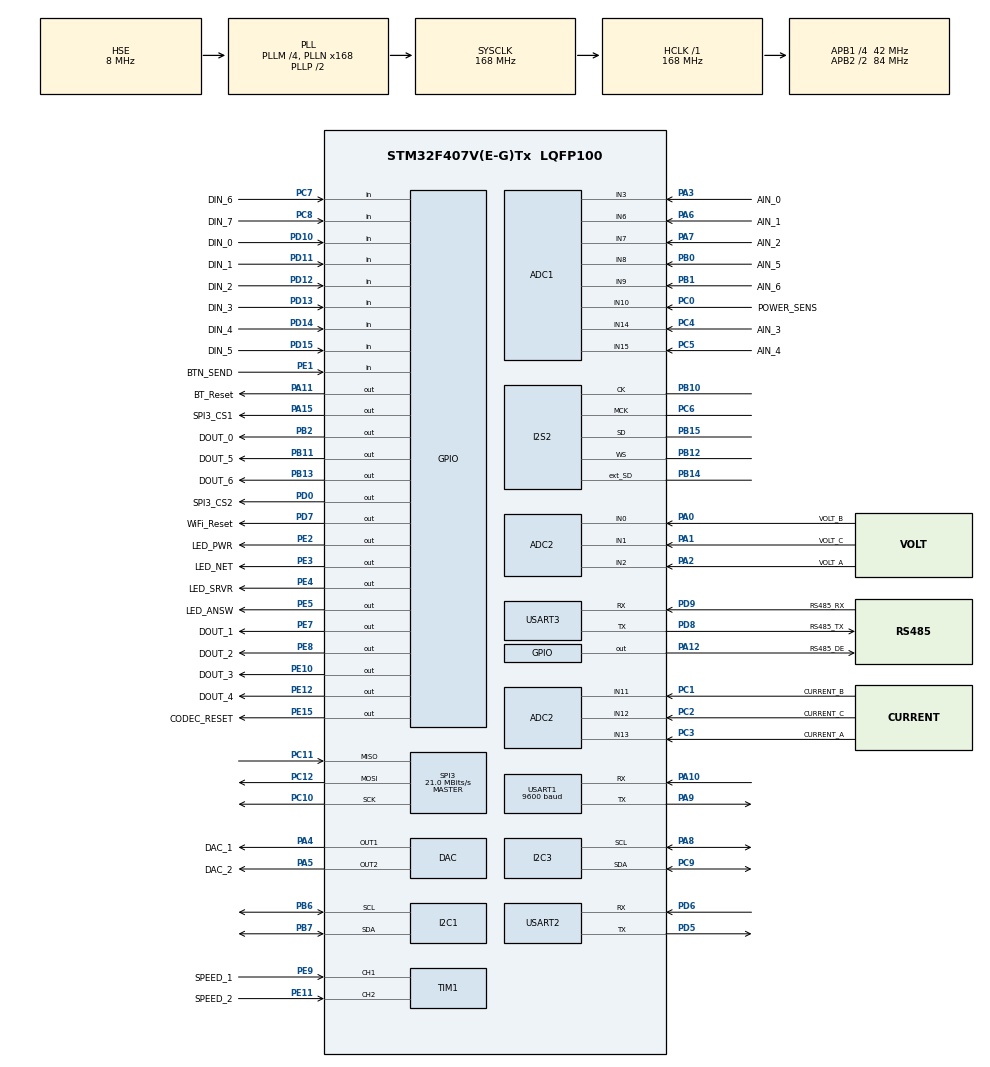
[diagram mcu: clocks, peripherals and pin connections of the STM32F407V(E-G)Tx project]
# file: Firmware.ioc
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ADC1.Channel-14\#ChannelRegularConversion=ADC_CHANNEL_3
ADC1.Channel-15\#ChannelRegularConversion=ADC_CHANNEL_6
ADC1.Channel-16\#ChannelRegularConversion=ADC_CHANNEL_7
ADC1.Channel-17\#ChannelRegularConversion=ADC_CHANNEL_14
ADC1.Channel-18\#ChannelRegularConversion=ADC_CHANNEL_15
ADC1.Channel-19\#ChannelRegularConversion=ADC_CHANNEL_8
ADC1.Channel-20\#ChannelRegularConversion=ADC_CHANNEL_9
ADC1.Channel-21\#ChannelRegularConversion=ADC_CHANNEL_10
ADC1.Channel-22\#ChannelRegularConversion=ADC_CHANNEL_TEMPSENSOR
ADC1.Channel-23\#ChannelRegularConversion=ADC_CHANNEL_VBAT
ADC1.Channel-24\#ChannelRegularConversion=ADC_CHANNEL_VREFINT
ADC1.ContinuousConvMode=ENABLE
ADC1.DMAContinuousRequests=ENABLE
ADC1.ExternalTrigConv=ADC_SOFTWARE_START
ADC1.NbrOfConversion=11
ADC1.NbrOfConversionFlag=1
ADC1.Rank-14\#ChannelRegularConversion=1
ADC1.Rank-15\#ChannelRegularConversion=2
ADC1.Rank-16\#ChannelRegularConversion=3
ADC1.Rank-17\#ChannelRegularConversion=4
ADC1.Rank-18\#ChannelRegularConversion=5
ADC1.Rank-19\#ChannelRegularConversion=6
ADC1.Rank-20\#ChannelRegularConversion=7
ADC1.Rank-21\#ChannelRegularConversion=8
ADC1.Rank-22\#ChannelRegularConversion=9
ADC1.Rank-23\#ChannelRegularConversion=10
ADC1.Rank-24\#ChannelRegularConversion=11
ADC1.SamplingTime-14\#ChannelRegularConversion=ADC_SAMPLETIME_480CYCLES
ADC1.SamplingTime-15\#ChannelRegularConversion=ADC_SAMPLETIME_480CYCLES
ADC1.SamplingTime-16\#ChannelRegularConversion=ADC_SAMPLETIME_480CYCLES
ADC1.SamplingTime-17\#ChannelRegularConversion=ADC_SAMPLETIME_480CYCLES
ADC1.SamplingTime-18\#ChannelRegularConversion=ADC_SAMPLETIME_480CYCLES
ADC1.SamplingTime-19\#ChannelRegularConversion=ADC_SAMPLETIME_480CYCLES
ADC1.SamplingTime-20\#ChannelRegularConversion=ADC_SAMPLETIME_480CYCLES
ADC1.SamplingTime-21\#ChannelRegularConversion=ADC_SAMPLETIME_480CYCLES
ADC1.SamplingTime-22\#ChannelRegularConversion=ADC_SAMPLETIME_480CYCLES
ADC1.SamplingTime-23\#ChannelRegularConversion=ADC_SAMPLETIME_480CYCLES
ADC1.SamplingTime-24\#ChannelRegularConversion=ADC_SAMPLETIME_480CYCLES
ADC1.ScanConvMode=ENABLE
ADC1.master=1
ADC2.Channel-15\#ChannelRegularConversion=ADC_CHANNEL_0
ADC2.Channel-16\#ChannelRegularConversion=ADC_CHANNEL_11
ADC2.Channel-17\#ChannelRegularConversion=ADC_CHANNEL_1
ADC2.Channel-18\#ChannelRegularConversion=ADC_CHANNEL_12
ADC2.Channel-19\#ChannelRegularConversion=ADC_CHANNEL_2
ADC2.Channel-20\#ChannelRegularConversion=ADC_CHANNEL_13
ADC2.DMAContinuousRequests=ENABLE
ADC2.DiscontinuousConvMode=ENABLE
ADC2.ExternalTrigConv=ADC_EXTERNALTRIGCONV_T5_CC1
ADC2.NbrOfConversion=6
ADC2.NbrOfConversionFlag=1
ADC2.NbrOfDiscConversion=6
ADC2.Rank-15\#ChannelRegularConversion=1
ADC2.Rank-16\#ChannelRegularConversion=2
ADC2.Rank-17\#ChannelRegularConversion=3
ADC2.Rank-18\#ChannelRegularConversion=4
ADC2.Rank-19\#ChannelRegularConversion=5
ADC2.Rank-20\#ChannelRegularConversion=6
ADC2.SamplingTime-15\#ChannelRegularConversion=ADC_SAMPLETIME_3CYCLES
ADC2.SamplingTime-16\#ChannelRegularConversion=ADC_SAMPLETIME_3CYCLES
ADC2.SamplingTime-17\#ChannelRegularConversion=ADC_SAMPLETIME_3CYCLES
ADC2.SamplingTime-18\#ChannelRegularConversion=ADC_SAMPLETIME_3CYCLES
ADC2.SamplingTime-19\#ChannelRegularConversion=ADC_SAMPLETIME_3CYCLES
ADC2.SamplingTime-20\#ChannelRegularConversion=ADC_SAMPLETIME_3CYCLES
ADC2.ScanConvMode=ENABLE
Dma.ADC1.0.Direction=DMA_PERIPH_TO_MEMORY
Dma.ADC1.0.FIFOMode=DMA_FIFOMODE_DISABLE
Dma.ADC1.0.Instance=DMA2_Stream0
Dma.ADC1.0.MemDataAlignment=DMA_MDATAALIGN_HALFWORD
Dma.ADC1.0.MemInc=DMA_MINC_ENABLE
Dma.ADC1.0.Mode=DMA_CIRCULAR
Dma.ADC1.0.PeriphDataAlignment=DMA_PDATAALIGN_HALFWORD
Dma.ADC1.0.PeriphInc=DMA_PINC_DISABLE
Dma.ADC1.0.Priority=DMA_PRIORITY_LOW
Dma.ADC2.1.Direction=DMA_PERIPH_TO_MEMORY
Dma.ADC2.1.FIFOMode=DMA_FIFOMODE_DISABLE
Dma.ADC2.1.Instance=DMA2_Stream2
Dma.ADC2.1.MemDataAlignment=DMA_MDATAALIGN_HALFWORD
Dma.ADC2.1.MemInc=DMA_MINC_ENABLE
Dma.ADC2.1.Mode=DMA_CIRCULAR
Dma.ADC2.1.PeriphDataAlignment=DMA_PDATAALIGN_HALFWORD
Dma.ADC2.1.PeriphInc=DMA_PINC_DISABLE
Dma.ADC2.1.Priority=DMA_PRIORITY_LOW
Dma.I2S2_EXT_RX.4.Direction=DMA_PERIPH_TO_MEMORY
Dma.I2S2_EXT_RX.4.FIFOMode=DMA_FIFOMODE_DISABLE
Dma.I2S2_EXT_RX.4.Instance=DMA1_Stream3
Dma.I2S2_EXT_RX.4.MemDataAlignment=DMA_MDATAALIGN_HALFWORD
Dma.I2S2_EXT_RX.4.MemInc=DMA_MINC_ENABLE
Dma.I2S2_EXT_RX.4.Mode=DMA_CIRCULAR
Dma.I2S2_EXT_RX.4.PeriphDataAlignment=DMA_PDATAALIGN_HALFWORD
Dma.I2S2_EXT_RX.4.PeriphInc=DMA_PINC_DISABLE
Dma.I2S2_EXT_RX.4.Priority=DMA_PRIORITY_LOW
Dma.Request0=ADC1
Dma.Request1=ADC2
Dma.Request2=USART2_TX
Dma.Request3=USART1_TX
Dma.Request4=I2S2_EXT_RX
Dma.Request5=SPI2_TX
Dma.SPI2_TX.5.Direction=DMA_MEMORY_TO_PERIPH
Dma.SPI2_TX.5.FIFOMode=DMA_FIFOMODE_DISABLE
Dma.SPI2_TX.5.Instance=DMA1_Stream4
Dma.SPI2_TX.5.MemDataAlignment=DMA_MDATAALIGN_HALFWORD
Dma.SPI2_TX.5.MemInc=DMA_MINC_ENABLE
Dma.SPI2_TX.5.Mode=DMA_CIRCULAR
Dma.SPI2_TX.5.PeriphDataAlignment=DMA_PDATAALIGN_HALFWORD
Dma.SPI2_TX.5.PeriphInc=DMA_PINC_DISABLE
Dma.SPI2_TX.5.Priority=DMA_PRIORITY_LOW
Dma.USART1_TX.3.Direction=DMA_MEMORY_TO_PERIPH
Dma.USART1_TX.3.FIFOMode=DMA_FIFOMODE_DISABLE
Dma.USART1_TX.3.Instance=DMA2_Stream7
Dma.USART1_TX.3.MemDataAlignment=DMA_MDATAALIGN_BYTE
Dma.USART1_TX.3.MemInc=DMA_MINC_ENABLE
Dma.USART1_TX.3.Mode=DMA_NORMAL
Dma.USART1_TX.3.PeriphDataAlignment=DMA_PDATAALIGN_BYTE
Dma.USART1_TX.3.PeriphInc=DMA_PINC_DISABLE
Dma.USART1_TX.3.Priority=DMA_PRIORITY_LOW
Dma.USART2_TX.2.Direction=DMA_MEMORY_TO_PERIPH
Dma.USART2_TX.2.FIFOMode=DMA_FIFOMODE_DISABLE
Dma.USART2_TX.2.Instance=DMA1_Stream6
Dma.USART2_TX.2.MemDataAlignment=DMA_MDATAALIGN_BYTE
Dma.USART2_TX.2.MemInc=DMA_MINC_ENABLE
Dma.USART2_TX.2.Mode=DMA_NORMAL
Dma.USART2_TX.2.PeriphDataAlignment=DMA_PDATAALIGN_BYTE
Dma.USART2_TX.2.PeriphInc=DMA_PINC_DISABLE
Dma.USART2_TX.2.Priority=DMA_PRIORITY_LOW
FREERTOS.BinarySemaphores01=BinarySem_ADC1_Ready,Dynamic,NULL;BinarySem_ADC2_50Hz_Ready,Dynamic,NULL;BinarySem_Codec_ADC_Ready,Dynamic,NULL
FREERTOS.Tasks01=defaultTask,0,512,StartDefaultTask,Default,NULL,Dynamic,NULL,NULL;ADC1_Data_Routi,1,128,Start_ADC1_Data_Routine,Default,NULL,Dynamic,NULL,NULL;ADC2_50Hz_Routi,1,128,Start_ADC2_50Hz_Routine,Default,NULL,Dynamic,NULL,NULL;CODEC_ADC_Routi,1,128,Start_CODEC_ADC_Routine,Default,NULL,Dynamic,NULL,NULL;WIFI_SEND_Routi,0,256,Start_WIFI_SEND_Routine,Default,NULL,Dynamic,NULL,NULL;OLED_Out,0,256,Start_OLED_Out,Default,NULL,Dynamic,NULL,NULL
I2C3.I2C_Mode=I2C_Standard
I2C3.OwnAddress=0
I2S2.AudioFreq=I2S_AUDIOFREQ_48K
I2S2.ErrorAudioFreq=1.72 %
I2S2.FullDuplexMode=I2S_FULLDUPLEXMODE_ENABLE
I2S2.Instance=SPI$Index
I2S2.Mode=I2S_MODE_MASTER_TX
I2S2.RealAudioFreq=48.828 KHz
I2S2.VirtualMode=I2S_MODE_MASTER
Mcu.Family=STM32F4
Mcu.Name=STM32F407V(E-G)Tx
Mcu.Package=LQFP100
NVIC.DMA1_Stream3_IRQn=true\:5\:0\:false\:false\:true\:true\:false\:true
NVIC.DMA1_Stream4_IRQn=true\:5\:0\:false\:false\:true\:true\:false\:true
NVIC.DMA1_Stream6_IRQn=true\:5\:0\:false\:false\:true\:true\:false\:true
NVIC.DMA2_Stream0_IRQn=true\:5\:0\:false\:false\:true\:true\:false\:true
NVIC.DMA2_Stream2_IRQn=true\:5\:0\:false\:false\:true\:true\:false\:true
NVIC.DMA2_Stream7_IRQn=true\:5\:0\:false\:false\:true\:true\:false\:true
NVIC.PriorityGroup=NVIC_PRIORITYGROUP_4
NVIC.TIM1_CC_IRQn=true\:5\:0\:false\:false\:true\:true\:true\:true
NVIC.TIM2_IRQn=true\:0\:0\:false\:false\:true\:false\:false\:true
NVIC.TIM5_IRQn=true\:5\:0\:false\:false\:true\:true\:true\:true
NVIC.TimeBase=TIM2_IRQn
NVIC.TimeBaseIP=TIM2
NVIC.USART1_IRQn=true\:5\:0\:true\:false\:true\:true\:true\:true
NVIC.USART2_IRQn=true\:5\:0\:true\:false\:true\:true\:true\:true
NVIC.USART3_IRQn=true\:5\:0\:false\:false\:true\:true\:true\:true
PA0-WKUP.GPIO_Label=VOLT_B
PA0-WKUP.Signal=ADCx_IN0
PA1.GPIO_Label=VOLT_C
PA1.Signal=ADCx_IN1
PA10.Mode=Asynchronous
PA10.Signal=USART1_RX
PA11.GPIO_Label=BT_Reset
PA11.Signal=GPIO_Output
PA12.GPIO_Label=RS485_DE
PA12.Signal=GPIO_Output
PA13.Mode=Serial_Wire
PA13.Signal=SYS_JTMS-SWDIO
PA14.Mode=Serial_Wire
PA14.Signal=SYS_JTCK-SWCLK
PA15.GPIO_Label=SPI3_CS1
PA15.Signal=GPIO_Output
PA2.GPIO_Label=VOLT_A
PA2.Signal=ADCx_IN2
PA3.GPIO_Label=AIN_0
PA3.Signal=ADCx_IN3
PA4.GPIO_Label=DAC_1
PA4.Signal=COMP_DAC1_group
PA5.GPIO_Label=DAC_2
PA5.Signal=COMP_DAC2_group
PA6.GPIO_Label=AIN_1
PA6.Signal=ADCx_IN6
PA7.GPIO_Label=AIN_2
PA7.Signal=ADCx_IN7
PA8.Mode=I2C
PA8.Signal=I2C3_SCL
PA9.Mode=Asynchronous
PA9.Signal=USART1_TX
PB0.GPIO_Label=AIN_5
PB0.Signal=ADCx_IN8
PB1.GPIO_Label=AIN_6
PB1.Signal=ADCx_IN9
PB10.Mode=Full_Duplex_Master
PB10.Signal=I2S2_CK
PB11.GPIO_Label=DOUT_5
PB11.Signal=GPIO_Output
PB12.Mode=Full_Duplex_Master
PB12.Signal=I2S2_WS
PB13.GPIO_Label=DOUT_6
PB13.Signal=GPIO_Output
PB14.Mode=Full_Duplex_Master
PB14.Signal=I2S2_ext_SD
PB15.Mode=Full_Duplex_Master
PB15.Signal=I2S2_SD
PB2.GPIO_Label=DOUT_0
PB2.Signal=GPIO_Output
PB6.Mode=I2C
PB6.Signal=I2C1_SCL
PB7.Mode=I2C
PB7.Signal=I2C1_SDA
PC0.GPIO_Label=POWER_SENS
PC0.Signal=ADCx_IN10
PC1.GPIO_Label=CURRENT_B
PC1.Signal=ADCx_IN11
PC10.Mode=Full_Duplex_Master
PC10.Signal=SPI3_SCK
PC11.Mode=Full_Duplex_Master
PC11.Signal=SPI3_MISO
PC12.Mode=Full_Duplex_Master
PC12.Signal=SPI3_MOSI
PC14-OSC32_IN.Mode=LSE-External-Oscillator
PC14-OSC32_IN.Signal=RCC_OSC32_IN
PC15-OSC32_OUT.Mode=LSE-External-Oscillator
PC15-OSC32_OUT.Signal=RCC_OSC32_OUT
PC2.GPIO_Label=CURRENT_C
PC2.Signal=ADCx_IN12
PC3.GPIO_Label=CURRENT_A
PC3.Signal=ADCx_IN13
PC4.GPIO_Label=AIN_3
PC4.Signal=ADCx_IN14
PC5.GPIO_Label=AIN_4
PC5.Signal=ADCx_IN15
PC6.Mode=Master_Clock_Activated
PC6.Signal=I2S2_MCK
PC7.GPIO_Label=DIN_6
PC7.Signal=GPIO_Input
PC8.GPIO_Label=DIN_7
PC8.Signal=GPIO_Input
PC9.Mode=I2C
PC9.Signal=I2C3_SDA
PD0.GPIO_Label=SPI3_CS2
PD0.Signal=GPIO_Output
PD10.GPIO_Label=DIN_0
PD10.Signal=GPIO_Input
PD11.GPIO_Label=DIN_1
PD11.Signal=GPIO_Input
PD12.GPIO_Label=DIN_2
PD12.Signal=GPIO_Input
PD13.GPIO_Label=DIN_3
PD13.Signal=GPIO_Input
PD14.GPIO_Label=DIN_4
PD14.Signal=GPIO_Input
PD15.GPIO_Label=DIN_5
PD15.Signal=GPIO_Input
PD5.Mode=Asynchronous
PD5.Signal=USART2_TX
PD6.Mode=Asynchronous
PD6.Signal=USART2_RX
PD7.GPIO_Label=WiFi_Reset
PD7.PinState=GPIO_PIN_RESET
PD7.Signal=GPIO_Output
PD8.GPIO_Label=RS485_TX
PD8.Mode=Asynchronous
PD8.Signal=USART3_TX
PD9.GPIO_Label=RS485_RX
PD9.Mode=Asynchronous
PD9.Signal=USART3_RX
PE1.GPIO_Label=BTN_SEND
PE1.GPIO_PuPd=GPIO_PULLUP
PE1.Signal=GPIO_Input
PE10.GPIO_Label=DOUT_3
PE10.Signal=GPIO_Output
PE11.GPIO_Label=SPEED_2
PE11.Signal=S_TIM1_CH2
PE12.GPIO_Label=DOUT_4
PE12.Signal=GPIO_Output
PE15.GPIO_Label=CODEC_RESET
PE15.Signal=GPIO_Output
PE2.GPIO_Label=LED_PWR
PE2.Signal=GPIO_Output
PE3.GPIO_Label=LED_NET
PE3.Signal=GPIO_Output
PE4.GPIO_Label=LED_SRVR
PE4.Signal=GPIO_Output
PE5.GPIO_Label=LED_ANSW
PE5.Signal=GPIO_Output
PE7.GPIO_Label=DOUT_1
PE7.Signal=GPIO_Output
PE8.GPIO_Label=DOUT_2
PE8.Signal=GPIO_Output
PE9.GPIO_Label=SPEED_1
PE9.Signal=S_TIM1_CH1
PH0-OSC_IN.Mode=HSE-External-Oscillator
PH0-OSC_IN.Signal=RCC_OSC_IN
PH1-OSC_OUT.Mode=HSE-External-Oscillator
PH1-OSC_OUT.Signal=RCC_OSC_OUT
ProjectManager.HeapSize=0x00
ProjectManager.StackSize=0x800
ProjectManager.TargetToolchain=EWARM V8.32
RCC.48MHZClocksFreq_Value=84000000
RCC.AHBFreq_Value=168000000
RCC.APB1CLKDivider=RCC_HCLK_DIV4
RCC.APB1Freq_Value=42000000
RCC.APB1TimFreq_Value=84000000
RCC.APB2CLKDivider=RCC_HCLK_DIV2
RCC.APB2Freq_Value=84000000
RCC.APB2TimFreq_Value=168000000
RCC.CortexFreq_Value=168000000
RCC.HCLKFreq_Value=168000000
RCC.HSE_VALUE=8000000
RCC.HSI_VALUE=16000000
RCC.PLLI2SN=50
RCC.PLLM=4
RCC.PLLN=168
RCC.PLLSourceVirtual=RCC_PLLSOURCE_HSE
RCC.SYSCLKFreq_VALUE=168000000
RCC.SYSCLKSource=RCC_SYSCLKSOURCE_PLLCLK
RCC.VCOOutputFreq_Value=336000000
SH.ADCx_IN0.0=ADC1_IN0
SH.ADCx_IN0.1=ADC2_IN0,IN0
SH.ADCx_IN1.0=ADC1_IN1
SH.ADCx_IN1.1=ADC2_IN1,IN1
SH.ADCx_IN10.0=ADC1_IN10,IN10
SH.ADCx_IN11.0=ADC1_IN11
SH.ADCx_IN11.1=ADC2_IN11,IN11
SH.ADCx_IN12.0=ADC1_IN12
SH.ADCx_IN12.1=ADC2_IN12,IN12
SH.ADCx_IN13.0=ADC1_IN13
SH.ADCx_IN13.1=ADC2_IN13,IN13
SH.ADCx_IN14.0=ADC2_IN14
SH.ADCx_IN14.1=ADC1_IN14,IN14
SH.ADCx_IN15.0=ADC2_IN15
SH.ADCx_IN15.1=ADC1_IN15,IN15
SH.ADCx_IN2.0=ADC1_IN2
SH.ADCx_IN2.1=ADC2_IN2,IN2
SH.ADCx_IN3.0=ADC2_IN3
SH.ADCx_IN3.1=ADC1_IN3,IN3
SH.ADCx_IN6.0=ADC2_IN6
SH.ADCx_IN6.1=ADC1_IN6,IN6
SH.ADCx_IN7.0=ADC2_IN7
SH.ADCx_IN7.1=ADC1_IN7,IN7
SH.ADCx_IN8.0=ADC2_IN8
SH.ADCx_IN8.1=ADC1_IN8,IN8
SH.ADCx_IN9.0=ADC2_IN9
SH.ADCx_IN9.1=ADC1_IN9,IN9
SH.COMP_DAC1_group.0=DAC_OUT1,DAC_OUT1
SH.COMP_DAC2_group.0=DAC_OUT2,DAC_OUT2
SH.S_TIM1_CH1.0=TIM1_CH1,Input_Capture1_from_TI1
SH.S_TIM1_CH2.0=TIM1_CH2,Input_Capture2_from_TI2
SPI3.BaudRatePrescaler=SPI_BAUDRATEPRESCALER_2
SPI3.CalculateBaudRate=21.0 MBits/s
SPI3.Direction=SPI_DIRECTION_2LINES
SPI3.Mode=SPI_MODE_MASTER
SPI3.VirtualType=VM_MASTER
TIM1.Channel-Input_Capture1_from_TI1=TIM_CHANNEL_1
TIM1.Channel-Input_Capture2_from_TI2=TIM_CHANNEL_2
TIM1.ICPolarity_CH1=TIM_INPUTCHANNELPOLARITY_BOTHEDGE
TIM5.Channel-PWM\ Generation1\ No\ Output=TIM_CHANNEL_1
TIM5.Period=10500
TIM5.Pulse-PWM\ Generation1\ No\ Output=100
TIM5.TIM_MasterOutputTrigger=TIM_TRGO_OC1REF
USART1.BaudRate=9600
USART1.VirtualMode=VM_ASYNC
USART2.VirtualMode=VM_ASYNC
USART3.VirtualMode=VM_ASYNC
VP_ADC1_TempSens_Input.Mode=IN-TempSens
VP_ADC1_Vbat_Input.Mode=IN-Vbat
VP_ADC1_Vref_Input.Mode=IN-Vrefint
VP_FREERTOS_VS_CMSIS_V1.Mode=CMSIS_V1
VP_SYS_VS_tim2.Mode=TIM2
VP_TIM1_VS_ClockSourceINT.Mode=Internal
VP_TIM5_VS_ClockSourceINT.Mode=Internal
VP_TIM5_VS_no_output1.Mode=PWM Generation1 No Output
VP_TIM9_VS_ClockSourceINT.Mode=Internal
board=custom

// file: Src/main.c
/* USER CODE BEGIN Header */
/**
  ******************************************************************************
  * @file           : main.c
  * @brief          : Main program body
  ******************************************************************************
  * @attention
  *
  * <h2><center>&copy; Copyright (c) 2019 STMicroelectronics.
  * All rights reserved.</center></h2>
  *
  * This software component is licensed by ST under Ultimate Liberty license
  * SLA0044, the "License"; You may not use this file except in compliance with
  * the License. You may obtain a copy of the License at:
  *                             www.st.com/SLA0044
  *
  ******************************************************************************
  */
/* USER CODE END Header */

#include "main.h"
#include "cmsis_os.h"

/* USER CODE BEGIN Includes */
#include "work.h"
#include <stdio.h>
#include <string.h>
#include "usart.h"
#include "esp.h"
#include "esp_send.h"
#include "codec.h"
#include "com_control.h"
#include "ssd1306.h"
#include "fonts.h"
#include "display.h"

extern          MEAS_t M;

/*
Для того, что бы срабатывал колбэк для прерывания полного завершения передачи по ДМА
В файле stm32f4xx_hal_i2s_ex.c
В функции static void I2SEx_TxRxDMACplt(DMA_HandleTypeDef *hdma) добавить
вызов HAL_I2SEx_TxRxCpltCallback(hi2s);
*/

/* USER CODE END Includes */

ADC_HandleTypeDef hadc1;
ADC_HandleTypeDef hadc2;
DMA_HandleTypeDef hdma_adc1;
DMA_HandleTypeDef hdma_adc2;

DAC_HandleTypeDef hdac;

I2C_HandleTypeDef hi2c1;
I2C_HandleTypeDef hi2c3;

I2S_HandleTypeDef hi2s2;
DMA_HandleTypeDef hdma_i2s2_ext_rx;
DMA_HandleTypeDef hdma_spi2_tx;

SPI_HandleTypeDef hspi3;

TIM_HandleTypeDef htim1;
TIM_HandleTypeDef htim5;
TIM_HandleTypeDef htim9;

UART_HandleTypeDef huart1;
UART_HandleTypeDef huart2;
UART_HandleTypeDef huart3;
DMA_HandleTypeDef hdma_usart1_tx;
DMA_HandleTypeDef hdma_usart2_tx;

osThreadId defaultTaskHandle;
osThreadId ADC1_Data_RoutiHandle;
osThreadId ADC2_50Hz_RoutiHandle;
osThreadId CODEC_ADC_RoutiHandle;
osThreadId WIFI_SEND_RoutiHandle;
osThreadId OLED_OutHandle;
osSemaphoreId BinarySem_ADC1_ReadyHandle;
osSemaphoreId BinarySem_ADC2_50Hz_ReadyHandle;
osSemaphoreId BinarySem_Codec_ADC_ReadyHandle;
osSemaphoreId myBinarySem_DisplayOutHandle;

void SystemClock_Config(void);
static void MX_GPIO_Init(void);
static void MX_DMA_Init(void);
static void MX_ADC1_Init(void);
static void MX_DAC_Init(void);
static void MX_I2C1_Init(void);
static void MX_I2C3_Init(void);
static void MX_I2S2_Init(void);
static void MX_SPI3_Init(void);
static void MX_TIM1_Init(void);
static void MX_USART1_UART_Init(void);
static void MX_USART2_UART_Init(void);
static void MX_USART3_UART_Init(void);
static void MX_TIM5_Init(void);
static void MX_ADC2_Init(void);
static void MX_TIM9_Init(void);
void StartDefaultTask(void const * argument);
void Start_ADC1_Data_Routine(void const * argument);
void Start_ADC2_50Hz_Routine(void const * argument);
void Start_CODEC_ADC_Routine(void const * argument);
void Start_WIFI_SEND_Routine(void const * argument);
void Start_OLED_Out(void const * argument);

/* USER CODE BEGIN 0 */
extern int16_t  Codec_Rx[];                                                     // Временный буфер аудиокодека
extern int16_t  Codec_Tx[];

#define ADC1_BUF_LEN (ADC1_CH_CNT * 40 * 2)                                     // 11 каналов по 40 отсчетов 2 полубуфера = 1600 байт
#define ADC2_BUF_LEN (ADC2_CH_CNT * 40 * 2)                                     // 6 каналов пo 40 отсчетов 2 полубуфера = 1120 байт

uint16_t        ADC1_buf[ADC1_BUF_LEN];                                         // Рабочие буфера АЦП контроллера
uint16_t        ADC2_buf[ADC2_BUF_LEN];

extern char     TmpStr[];                                                       // Строка для вского

//******************************************************************************
//   ADC 1 DC
//******************************************************************************
void ADC1_DMA_XferHalfCpltCallback ( struct __DMA_HandleTypeDef * hdma){
  R.ADC1_Start_Point =  ADC1_buf;
  osSemaphoreRelease(BinarySem_ADC1_ReadyHandle);                               //Выдем семафор о принятии в буфер сообщения
}

void ADC1_DMA_XferCpltCallback ( struct __DMA_HandleTypeDef * hdma){
  R.ADC1_Start_Point = ADC1_buf + ADC1_BUF_LEN/2;
  osSemaphoreRelease(BinarySem_ADC1_ReadyHandle);                               //Выдем семафор о принятии в буфер сообщения
}

//******************************************************************************
//   ADC 2 50 Hz
//******************************************************************************
void ADC2_DMA_XferHalfCpltCallback ( struct __DMA_HandleTypeDef * hdma){
  R.ADC2_Start_Point =  ADC2_buf;
  osSemaphoreRelease(BinarySem_ADC2_50Hz_ReadyHandle);                          //Выдем семафор о принятии в буфер сообщения
}

void ADC2_DMA_XferCpltCallback ( struct __DMA_HandleTypeDef * hdma){
  R.ADC2_Start_Point = ADC2_buf + ADC2_BUF_LEN/2;
  osSemaphoreRelease(BinarySem_ADC2_50Hz_ReadyHandle);                          //Выдем семафор о принятии в буфер сообщения
}

void USART1_UART_Init()
{
	MX_USART1_UART_Init();
}

void USART2_UART_Init()
{
	MX_USART2_UART_Init();
}
void UART2_UART_InitBaud()
{
	huart2.Instance = USART2;
	huart2.Init.BaudRate = 230400;
	huart2.Init.WordLength = UART_WORDLENGTH_8B;
	huart2.Init.StopBits = UART_STOPBITS_1;
	huart2.Init.Parity = UART_PARITY_NONE;
	huart2.Init.Mode = UART_MODE_TX_RX;
	huart2.Init.HwFlowCtl = UART_HWCONTROL_NONE;
	huart2.Init.OverSampling = UART_OVERSAMPLING_16;
	if (HAL_UART_Init(&huart2) != HAL_OK)
	{
	Error_Handler();
	}
}

extern HAL_TickFreqTypeDef uwTickFreq;
extern __IO uint32_t uwTick;
volatile uint32_t EspTimer = 0;
volatile uint32_t EspSendTimer = 0;

void HAL_IncTick(void)
{
static uint16_t Tick;
#define SCREEN_SHOW_TIME_MS     2000
	uwTick += uwTickFreq;
	if (EspTimer != 0)
		--EspTimer;
	if (EspSendTimer != 0)
		--EspSendTimer;

        //---   1 sec   --------------------------------------------------------
        if (++Tick == 1000){
            Tick=0;
            M.UpTime++;
            if (R.Timer_Send_Freq != 0)  R.Timer_Send_Freq--;                   // Таймер отправки частых измерений
            if (R.Timer_Send_Rare != 0)  R.Timer_Send_Rare--;                   // Таймер отправки редких измерений
        }

        //---   Переключение экранов   -----------------------------------------
        if (++R.OLED_Screen_Show_Timer >= SCREEN_SHOW_TIME_MS){
          R.OLED_Screen_Show_Timer = 0;

          if (++R.OLED_Screen >= SCREEN_CNT) R.OLED_Screen = 0;
          R.OLED_Refresh_Enable = true;

        }

}

void HAL_Delay(uint32_t Delay)
{
	uint32_t tickstart = HAL_GetTick();
	uint32_t wait = Delay;

	/* Add a freq to guarantee minimum wait */
	if (wait < HAL_MAX_DELAY)
		wait += (uint32_t)(uwTickFreq);

	while ((HAL_GetTick() - tickstart) < wait)
	{
		__WFI();
	}
}

void ESP_HW_Reset (void) {
        __WIFI_RESET  (0);
        HAL_Delay(20);
        __WIFI_RESET  (1);
        HAL_Delay(200);
}
/* USER CODE END 0 */

int main(void)
{

  /* MCU Configuration--------------------------------------------------------*/

  /* Reset of all peripherals, Initializes the Flash interface and the Systick. */
  HAL_Init();

  /* Configure the system clock */
  SystemClock_Config();

  /* USER CODE BEGIN SysInit */
//  MX_GPIO_Init();
//  MX_DMA_Init();
//  MX_ADC1_Init();
//  MX_DAC_Init();
//  MX_I2C1_Init();
//  MX_I2C3_Init();
//  MX_I2S2_Init();
//  MX_SPI3_Init();
//  MX_TIM1_Init();
//  MX_USART3_UART_Init();
//  MX_TIM5_Init();
//  MX_ADC2_Init();
//
//
//
//
//
//#if 0
  /* USER CODE END SysInit */

  /* Initialize all configured peripherals */
  MX_GPIO_Init();
  MX_DMA_Init();
  MX_ADC1_Init();
  MX_DAC_Init();
  MX_I2C1_Init();
  MX_I2C3_Init();
  MX_I2S2_Init();
  MX_SPI3_Init();
  MX_TIM1_Init();
  MX_USART1_UART_Init();
  MX_USART2_UART_Init();
  MX_USART3_UART_Init();
  MX_TIM5_Init();
  MX_ADC2_Init();
  MX_TIM9_Init();
  /* USER CODE BEGIN 2 */
//#endif

        // По кнопке применение настроек по умолчанию
        if (HAL_GPIO_ReadPin(BTN_SEND_GPIO_Port, BTN_SEND_Pin) == GPIO_PIN_RESET) {

            bluetooth_init();

            load_default_settings_to_EEPROM();
            DEBUG("\nDefault settings loaded\n");
            sprintf(TmpStr, "BT_Name:VIB_%02d%02d\n", DevID_Dw0&0xFF, (DevID_Dw0>>16)&0xFF);
            DEBUG(TmpStr);

            ssd1306_Init();
            ssd1306_SetCursor(0,0);
            sprintf(TmpStr, "BT_Name:VIB_%02d%02d", DevID_Dw0&0xFF, (DevID_Dw0>>16)&0xFF);
            ssd1306_WriteString(TmpStr,Font_7x10,White);
            ssd1306_SetCursor(0,16);
            sprintf(TmpStr, "Def EEPROM loaded");
            ssd1306_WriteString(TmpStr,Font_7x10,White);
            ssd1306_UpdateScreen();

            while(HAL_GPIO_ReadPin(BTN_SEND_GPIO_Port, BTN_SEND_Pin) == GPIO_PIN_RESET);

        }

        board_init();

        ESP_HW_Reset();

  	UART1_ReInit();
	UART2_ReInit();

	DEBUG("\nCONCENTRATOR \"UNIVERSAL-1\"\n");

  /* USER CODE END 2 */

  /* Create the semaphores(s) */
  /* definition and creation of BinarySem_ADC1_Ready */
  osSemaphoreDef(BinarySem_ADC1_Ready);
  BinarySem_ADC1_ReadyHandle = osSemaphoreCreate(osSemaphore(BinarySem_ADC1_Ready), 1);

  /* definition and creation of BinarySem_ADC2_50Hz_Ready */
  osSemaphoreDef(BinarySem_ADC2_50Hz_Ready);
  BinarySem_ADC2_50Hz_ReadyHandle = osSemaphoreCreate(osSemaphore(BinarySem_ADC2_50Hz_Ready), 1);

  /* definition and creation of BinarySem_Codec_ADC_Ready */
  osSemaphoreDef(BinarySem_Codec_ADC_Ready);
  BinarySem_Codec_ADC_ReadyHandle = osSemaphoreCreate(osSemaphore(BinarySem_Codec_ADC_Ready), 1);

  /* definition and creation of myBinarySem_DisplayOut */
  osSemaphoreDef(myBinarySem_DisplayOut);
  myBinarySem_DisplayOutHandle = osSemaphoreCreate(osSemaphore(myBinarySem_DisplayOut), 1);

  /* Create the thread(s) */
  /* definition and creation of defaultTask */
  osThreadDef(defaultTask, StartDefaultTask, osPriorityNormal, 0, 512);
  defaultTaskHandle = osThreadCreate(osThread(defaultTask), NULL);

  /* definition and creation of ADC1_Data_Routi */
  osThreadDef(ADC1_Data_Routi, Start_ADC1_Data_Routine, osPriorityAboveNormal, 0, 128);
  ADC1_Data_RoutiHandle = osThreadCreate(osThread(ADC1_Data_Routi), NULL);

  /* definition and creation of ADC2_50Hz_Routi */
  osThreadDef(ADC2_50Hz_Routi, Start_ADC2_50Hz_Routine, osPriorityAboveNormal, 0, 128);
  ADC2_50Hz_RoutiHandle = osThreadCreate(osThread(ADC2_50Hz_Routi), NULL);

  /* definition and creation of CODEC_ADC_Routi */
  osThreadDef(CODEC_ADC_Routi, Start_CODEC_ADC_Routine, osPriorityAboveNormal, 0, 128);
  CODEC_ADC_RoutiHandle = osThreadCreate(osThread(CODEC_ADC_Routi), NULL);

  /* definition and creation of WIFI_SEND_Routi */
  osThreadDef(WIFI_SEND_Routi, Start_WIFI_SEND_Routine, osPriorityNormal, 0, 256);
  WIFI_SEND_RoutiHandle = osThreadCreate(osThread(WIFI_SEND_Routi), NULL);

  /* definition and creation of OLED_Out */
  osThreadDef(OLED_Out, Start_OLED_Out, osPriorityNormal, 0, 256);
  OLED_OutHandle = osThreadCreate(osThread(OLED_Out), NULL);

  /* Start scheduler */
  osKernelStart();

  /* We should never get here as control is now taken by the scheduler */

  /* Infinite loop */
  while (1)
  {

  }
}

void SystemClock_Config(void)
{
  RCC_OscInitTypeDef RCC_OscInitStruct = {0};
  RCC_ClkInitTypeDef RCC_ClkInitStruct = {0};
  RCC_PeriphCLKInitTypeDef PeriphClkInitStruct = {0};

  /** Configure the main internal regulator output voltage
  */
  __HAL_RCC_PWR_CLK_ENABLE();
  __HAL_PWR_VOLTAGESCALING_CONFIG(PWR_REGULATOR_VOLTAGE_SCALE1);
  /** Initializes the CPU, AHB and APB busses clocks
  */
  RCC_OscInitStruct.OscillatorType = RCC_OSCILLATORTYPE_HSE;
  RCC_OscInitStruct.HSEState = RCC_HSE_ON;
  RCC_OscInitStruct.PLL.PLLState = RCC_PLL_ON;
  RCC_OscInitStruct.PLL.PLLSource = RCC_PLLSOURCE_HSE;
  RCC_OscInitStruct.PLL.PLLM = 4;
  RCC_OscInitStruct.PLL.PLLN = 168;
  RCC_OscInitStruct.PLL.PLLP = RCC_PLLP_DIV2;
  RCC_OscInitStruct.PLL.PLLQ = 4;
  if (HAL_RCC_OscConfig(&RCC_OscInitStruct) != HAL_OK)
  {
    Error_Handler();
  }
  /** Initializes the CPU, AHB and APB busses clocks
  */
  RCC_ClkInitStruct.ClockType = RCC_CLOCKTYPE_HCLK|RCC_CLOCKTYPE_SYSCLK
                              |RCC_CLOCKTYPE_PCLK1|RCC_CLOCKTYPE_PCLK2;
  RCC_ClkInitStruct.SYSCLKSource = RCC_SYSCLKSOURCE_PLLCLK;
  RCC_ClkInitStruct.AHBCLKDivider = RCC_SYSCLK_DIV1;
  RCC_ClkInitStruct.APB1CLKDivider = RCC_HCLK_DIV4;
  RCC_ClkInitStruct.APB2CLKDivider = RCC_HCLK_DIV2;

  if (HAL_RCC_ClockConfig(&RCC_ClkInitStruct, FLASH_LATENCY_5) != HAL_OK)
  {
    Error_Handler();
  }
  PeriphClkInitStruct.PeriphClockSelection = RCC_PERIPHCLK_I2S;
  PeriphClkInitStruct.PLLI2S.PLLI2SN = 50;
  PeriphClkInitStruct.PLLI2S.PLLI2SR = 2;
  if (HAL_RCCEx_PeriphCLKConfig(&PeriphClkInitStruct) != HAL_OK)
  {
    Error_Handler();
  }
}

static void MX_ADC1_Init(void)
{

  ADC_ChannelConfTypeDef sConfig = {0};

  /** Configure the global features of the ADC (Clock, Resolution, Data Alignment and number of conversion)
  */
  hadc1.Instance = ADC1;
  hadc1.Init.ClockPrescaler = ADC_CLOCK_SYNC_PCLK_DIV4;
  hadc1.Init.Resolution = ADC_RESOLUTION_12B;
  hadc1.Init.ScanConvMode = ENABLE;
  hadc1.Init.ContinuousConvMode = ENABLE;
  hadc1.Init.DiscontinuousConvMode = DISABLE;
  hadc1.Init.ExternalTrigConvEdge = ADC_EXTERNALTRIGCONVEDGE_NONE;
  hadc1.Init.ExternalTrigConv = ADC_SOFTWARE_START;
  hadc1.Init.DataAlign = ADC_DATAALIGN_RIGHT;
  hadc1.Init.NbrOfConversion = 11;
  hadc1.Init.DMAContinuousRequests = ENABLE;
  hadc1.Init.EOCSelection = ADC_EOC_SINGLE_CONV;
  if (HAL_ADC_Init(&hadc1) != HAL_OK)
  {
    Error_Handler();
  }
  /** Configure for the selected ADC regular channel its corresponding rank in the sequencer and its sample time.
  */
  sConfig.Channel = ADC_CHANNEL_3;
  sConfig.Rank = 1;
  sConfig.SamplingTime = ADC_SAMPLETIME_480CYCLES;
  if (HAL_ADC_ConfigChannel(&hadc1, &sConfig) != HAL_OK)
  {
    Error_Handler();
  }
  /** Configure for the selected ADC regular channel its corresponding rank in the sequencer and its sample time.
  */
  sConfig.Channel = ADC_CHANNEL_6;
  sConfig.Rank = 2;
  if (HAL_ADC_ConfigChannel(&hadc1, &sConfig) != HAL_OK)
  {
    Error_Handler();
  }
  /** Configure for the selected ADC regular channel its corresponding rank in the sequencer and its sample time.
  */
  sConfig.Channel = ADC_CHANNEL_7;
  sConfig.Rank = 3;
  if (HAL_ADC_ConfigChannel(&hadc1, &sConfig) != HAL_OK)
  {
    Error_Handler();
  }
  /** Configure for the selected ADC regular channel its corresponding rank in the sequencer and its sample time.
  */
  sConfig.Channel = ADC_CHANNEL_14;
  sConfig.Rank = 4;
  if (HAL_ADC_ConfigChannel(&hadc1, &sConfig) != HAL_OK)
  {
    Error_Handler();
  }
  /** Configure for the selected ADC regular channel its corresponding rank in the sequencer and its sample time.
  */
  sConfig.Channel = ADC_CHANNEL_15;
  sConfig.Rank = 5;
  if (HAL_ADC_ConfigChannel(&hadc1, &sConfig) != HAL_OK)
  {
    Error_Handler();
  }
  /** Configure for the selected ADC regular channel its corresponding rank in the sequencer and its sample time.
  */
  sConfig.Channel = ADC_CHANNEL_8;
  sConfig.Rank = 6;
  if (HAL_ADC_ConfigChannel(&hadc1, &sConfig) != HAL_OK)
  {
    Error_Handler();
  }
  /** Configure for the selected ADC regular channel its corresponding rank in the sequencer and its sample time.
  */
  sConfig.Channel = ADC_CHANNEL_9;
  sConfig.Rank = 7;
  if (HAL_ADC_ConfigChannel(&hadc1, &sConfig) != HAL_OK)
  {
    Error_Handler();
  }
  /** Configure for the selected ADC regular channel its corresponding rank in the sequencer and its sample time.
  */
  sConfig.Channel = ADC_CHANNEL_10;
  sConfig.Rank = 8;
  if (HAL_ADC_ConfigChannel(&hadc1, &sConfig) != HAL_OK)
  {
    Error_Handler();
  }
  /** Configure for the selected ADC regular channel its corresponding rank in the sequencer and its sample time.
  */
  sConfig.Channel = ADC_CHANNEL_TEMPSENSOR;
  sConfig.Rank = 9;
  if (HAL_ADC_ConfigChannel(&hadc1, &sConfig) != HAL_OK)
  {
    Error_Handler();
  }
  /** Configure for the selected ADC regular channel its corresponding rank in the sequencer and its sample time.
  */
  sConfig.Channel = ADC_CHANNEL_VBAT;
  sConfig.Rank = 10;
  if (HAL_ADC_ConfigChannel(&hadc1, &sConfig) != HAL_OK)
  {
    Error_Handler();
  }
  /** Configure for the selected ADC regular channel its corresponding rank in the sequencer and its sample time.
  */
  sConfig.Channel = ADC_CHANNEL_VREFINT;
  sConfig.Rank = 11;
  if (HAL_ADC_ConfigChannel(&hadc1, &sConfig) != HAL_OK)
  {
    Error_Handler();
  }

}

static void MX_ADC2_Init(void)
{

  ADC_ChannelConfTypeDef sConfig = {0};

  /** Configure the global features of the ADC (Clock, Resolution, Data Alignment and number of conversion)
  */
  hadc2.Instance = ADC2;
  hadc2.Init.ClockPrescaler = ADC_CLOCK_SYNC_PCLK_DIV4;
  hadc2.Init.Resolution = ADC_RESOLUTION_12B;
  hadc2.Init.ScanConvMode = ENABLE;
  hadc2.Init.ContinuousConvMode = DISABLE;
  hadc2.Init.DiscontinuousConvMode = ENABLE;
  hadc2.Init.NbrOfDiscConversion = 6;
  hadc2.Init.ExternalTrigConvEdge = ADC_EXTERNALTRIGCONVEDGE_RISING;
  hadc2.Init.ExternalTrigConv = ADC_EXTERNALTRIGCONV_T5_CC1;
  hadc2.Init.DataAlign = ADC_DATAALIGN_RIGHT;
  hadc2.Init.NbrOfConversion = 6;
  hadc2.Init.DMAContinuousRequests = ENABLE;
  hadc2.Init.EOCSelection = ADC_EOC_SINGLE_CONV;
  if (HAL_ADC_Init(&hadc2) != HAL_OK)
  {
    Error_Handler();
  }
  /** Configure for the selected ADC regular channel its corresponding rank in the sequencer and its sample time.
  */
  sConfig.Channel = ADC_CHANNEL_0;
  sConfig.Rank = 1;
  sConfig.SamplingTime = ADC_SAMPLETIME_3CYCLES;
  if (HAL_ADC_ConfigChannel(&hadc2, &sConfig) != HAL_OK)
  {
    Error_Handler();
  }
  /** Configure for the selected ADC regular channel its corresponding rank in the sequencer and its sample time.
  */
  sConfig.Channel = ADC_CHANNEL_11;
  sConfig.Rank = 2;
  if (HAL_ADC_ConfigChannel(&hadc2, &sConfig) != HAL_OK)
  {
    Error_Handler();
  }
  /** Configure for the selected ADC regular channel its corresponding rank in the sequencer and its sample time.
  */
  sConfig.Channel = ADC_CHANNEL_1;
  sConfig.Rank = 3;
  if (HAL_ADC_ConfigChannel(&hadc2, &sConfig) != HAL_OK)
  {
    Error_Handler();
  }
  /** Configure for the selected ADC regular channel its corresponding rank in the sequencer and its sample time.
  */
  sConfig.Channel = ADC_CHANNEL_12;
  sConfig.Rank = 4;
  if (HAL_ADC_ConfigChannel(&hadc2, &sConfig) != HAL_OK)
  {
    Error_Handler();
  }
  /** Configure for the selected ADC regular channel its corresponding rank in the sequencer and its sample time.
  */
  sConfig.Channel = ADC_CHANNEL_2;
  sConfig.Rank = 5;
  if (HAL_ADC_ConfigChannel(&hadc2, &sConfig) != HAL_OK)
  {
    Error_Handler();
  }
  /** Configure for the selected ADC regular channel its corresponding rank in the sequencer and its sample time.
  */
  sConfig.Channel = ADC_CHANNEL_13;
  sConfig.Rank = 6;
  if (HAL_ADC_ConfigChannel(&hadc2, &sConfig) != HAL_OK)
  {
    Error_Handler();
  }

}

static void MX_DAC_Init(void)
{

  DAC_ChannelConfTypeDef sConfig = {0};

  /** DAC Initialization
  */
  hdac.Instance = DAC;
  if (HAL_DAC_Init(&hdac) != HAL_OK)
  {
    Error_Handler();
  }
  /** DAC channel OUT1 config
  */
  sConfig.DAC_Trigger = DAC_TRIGGER_NONE;
  sConfig.DAC_OutputBuffer = DAC_OUTPUTBUFFER_ENABLE;
  if (HAL_DAC_ConfigChannel(&hdac, &sConfig, DAC_CHANNEL_1) != HAL_OK)
  {
    Error_Handler();
  }
  /** DAC channel OUT2 config
  */
  if (HAL_DAC_ConfigChannel(&hdac, &sConfig, DAC_CHANNEL_2) != HAL_OK)
  {
    Error_Handler();
  }

}

static void MX_I2C1_Init(void)
{

  hi2c1.Instance = I2C1;
  hi2c1.Init.ClockSpeed = 100000;
  hi2c1.Init.DutyCycle = I2C_DUTYCYCLE_2;
  hi2c1.Init.OwnAddress1 = 0;
  hi2c1.Init.AddressingMode = I2C_ADDRESSINGMODE_7BIT;
  hi2c1.Init.DualAddressMode = I2C_DUALADDRESS_DISABLE;
  hi2c1.Init.OwnAddress2 = 0;
  hi2c1.Init.GeneralCallMode = I2C_GENERALCALL_DISABLE;
  hi2c1.Init.NoStretchMode = I2C_NOSTRETCH_DISABLE;
  if (HAL_I2C_Init(&hi2c1) != HAL_OK)
  {
    Error_Handler();
  }

}

static void MX_I2C3_Init(void)
{

  hi2c3.Instance = I2C3;
  hi2c3.Init.ClockSpeed = 100000;
  hi2c3.Init.DutyCycle = I2C_DUTYCYCLE_2;
  hi2c3.Init.OwnAddress1 = 0;
  hi2c3.Init.AddressingMode = I2C_ADDRESSINGMODE_7BIT;
  hi2c3.Init.DualAddressMode = I2C_DUALADDRESS_DISABLE;
  hi2c3.Init.OwnAddress2 = 0;
  hi2c3.Init.GeneralCallMode = I2C_GENERALCALL_DISABLE;
  hi2c3.Init.NoStretchMode = I2C_NOSTRETCH_DISABLE;
  if (HAL_I2C_Init(&hi2c3) != HAL_OK)
  {
    Error_Handler();
  }

}

static void MX_I2S2_Init(void)
{

  hi2s2.Instance = SPI2;
  hi2s2.Init.Mode = I2S_MODE_MASTER_TX;
  hi2s2.Init.Standard = I2S_STANDARD_PHILIPS;
  hi2s2.Init.DataFormat = I2S_DATAFORMAT_16B;
  hi2s2.Init.MCLKOutput = I2S_MCLKOUTPUT_ENABLE;
  hi2s2.Init.AudioFreq = I2S_AUDIOFREQ_48K;
  hi2s2.Init.CPOL = I2S_CPOL_LOW;
  hi2s2.Init.ClockSource = I2S_CLOCK_PLL;
  hi2s2.Init.FullDuplexMode = I2S_FULLDUPLEXMODE_ENABLE;
  if (HAL_I2S_Init(&hi2s2) != HAL_OK)
  {
    Error_Handler();
  }

}

static void MX_SPI3_Init(void)
{

  /* SPI3 parameter configuration*/
  hspi3.Instance = SPI3;
  hspi3.Init.Mode = SPI_MODE_MASTER;
  hspi3.Init.Direction = SPI_DIRECTION_2LINES;
  hspi3.Init.DataSize = SPI_DATASIZE_8BIT;
  hspi3.Init.CLKPolarity = SPI_POLARITY_LOW;
  hspi3.Init.CLKPhase = SPI_PHASE_1EDGE;
  hspi3.Init.NSS = SPI_NSS_SOFT;
  hspi3.Init.BaudRatePrescaler = SPI_BAUDRATEPRESCALER_2;
  hspi3.Init.FirstBit = SPI_FIRSTBIT_MSB;
  hspi3.Init.TIMode = SPI_TIMODE_DISABLE;
  hspi3.Init.CRCCalculation = SPI_CRCCALCULATION_DISABLE;
  hspi3.Init.CRCPolynomial = 10;
  if (HAL_SPI_Init(&hspi3) != HAL_OK)
  {
    Error_Handler();
  }

}

static void MX_TIM1_Init(void)
{

  TIM_ClockConfigTypeDef sClockSourceConfig = {0};
  TIM_MasterConfigTypeDef sMasterConfig = {0};
  TIM_IC_InitTypeDef sConfigIC = {0};

  htim1.Instance = TIM1;
  htim1.Init.Prescaler = 0;
  htim1.Init.CounterMode = TIM_COUNTERMODE_UP;
  htim1.Init.Period = 0;
  htim1.Init.ClockDivision = TIM_CLOCKDIVISION_DIV1;
  htim1.Init.RepetitionCounter = 0;
  htim1.Init.AutoReloadPreload = TIM_AUTORELOAD_PRELOAD_DISABLE;
  if (HAL_TIM_Base_Init(&htim1) != HAL_OK)
  {
    Error_Handler();
  }
  sClockSourceConfig.ClockSource = TIM_CLOCKSOURCE_INTERNAL;
  if (HAL_TIM_ConfigClockSource(&htim1, &sClockSourceConfig) != HAL_OK)
  {
    Error_Handler();
  }
  if (HAL_TIM_IC_Init(&htim1) != HAL_OK)
  {
    Error_Handler();
  }
  sMasterConfig.MasterOutputTrigger = TIM_TRGO_RESET;
  sMasterConfig.MasterSlaveMode = TIM_MASTERSLAVEMODE_DISABLE;
  if (HAL_TIMEx_MasterConfigSynchronization(&htim1, &sMasterConfig) != HAL_OK)
  {
    Error_Handler();
  }
  sConfigIC.ICPolarity = TIM_INPUTCHANNELPOLARITY_BOTHEDGE;
  sConfigIC.ICSelection = TIM_ICSELECTION_DIRECTTI;
  sConfigIC.ICPrescaler = TIM_ICPSC_DIV1;
  sConfigIC.ICFilter = 0;
  if (HAL_TIM_IC_ConfigChannel(&htim1, &sConfigIC, TIM_CHANNEL_1) != HAL_OK)
  {
    Error_Handler();
  }
  sConfigIC.ICPolarity = TIM_INPUTCHANNELPOLARITY_RISING;
  if (HAL_TIM_IC_ConfigChannel(&htim1, &sConfigIC, TIM_CHANNEL_2) != HAL_OK)
  {
    Error_Handler();
  }

}

static void MX_TIM5_Init(void)
{

  TIM_ClockConfigTypeDef sClockSourceConfig = {0};
  TIM_MasterConfigTypeDef sMasterConfig = {0};
  TIM_OC_InitTypeDef sConfigOC = {0};

  htim5.Instance = TIM5;
  htim5.Init.Prescaler = 0;
  htim5.Init.CounterMode = TIM_COUNTERMODE_UP;
  htim5.Init.Period = 10500;
  htim5.Init.ClockDivision = TIM_CLOCKDIVISION_DIV1;
  htim5.Init.AutoReloadPreload = TIM_AUTORELOAD_PRELOAD_DISABLE;
  if (HAL_TIM_Base_Init(&htim5) != HAL_OK)
  {
    Error_Handler();
  }
  sClockSourceConfig.ClockSource = TIM_CLOCKSOURCE_INTERNAL;
  if (HAL_TIM_ConfigClockSource(&htim5, &sClockSourceConfig) != HAL_OK)
  {
    Error_Handler();
  }
  if (HAL_TIM_PWM_Init(&htim5) != HAL_OK)
  {
    Error_Handler();
  }
  sMasterConfig.MasterOutputTrigger = TIM_TRGO_OC1REF;
  sMasterConfig.MasterSlaveMode = TIM_MASTERSLAVEMODE_DISABLE;
  if (HAL_TIMEx_MasterConfigSynchronization(&htim5, &sMasterConfig) != HAL_OK)
  {
    Error_Handler();
  }
  sConfigOC.OCMode = TIM_OCMODE_PWM1;
  sConfigOC.Pulse = 100;
  sConfigOC.OCPolarity = TIM_OCPOLARITY_HIGH;
  sConfigOC.OCFastMode = TIM_OCFAST_DISABLE;
  if (HAL_TIM_PWM_ConfigChannel(&htim5, &sConfigOC, TIM_CHANNEL_1) != HAL_OK)
  {
    Error_Handler();
  }
  /* USER CODE BEGIN TIM5_Init 2 */
//  TIM_CCxChannelCmd(htim5.Instance, TIM_CHANNEL_1, TIM_CCx_ENABLE);
//  HAL_TIM_GenerateEvent(&htim5, TIM_EVENTSOURCE_CC1);
  //HAL_TIM_OC_Start(&htim5, TIM_CHANNEL_1);
  /* USER CODE END TIM5_Init 2 */

}

static void MX_TIM9_Init(void)
{

  TIM_ClockConfigTypeDef sClockSourceConfig = {0};

  htim9.Instance = TIM9;
  htim9.Init.Prescaler = 0;
  htim9.Init.CounterMode = TIM_COUNTERMODE_UP;
  htim9.Init.Period = 0;
  htim9.Init.ClockDivision = TIM_CLOCKDIVISION_DIV1;
  htim9.Init.AutoReloadPreload = TIM_AUTORELOAD_PRELOAD_DISABLE;
  if (HAL_TIM_Base_Init(&htim9) != HAL_OK)
  {
    Error_Handler();
  }
  sClockSourceConfig.ClockSource = TIM_CLOCKSOURCE_INTERNAL;
  if (HAL_TIM_ConfigClockSource(&htim9, &sClockSourceConfig) != HAL_OK)
  {
    Error_Handler();
  }

}

static void MX_USART1_UART_Init(void)
{

  huart1.Instance = USART1;
  huart1.Init.BaudRate = 9600;
  huart1.Init.WordLength = UART_WORDLENGTH_8B;
  huart1.Init.StopBits = UART_STOPBITS_1;
  huart1.Init.Parity = UART_PARITY_NONE;
  huart1.Init.Mode = UART_MODE_TX_RX;
  huart1.Init.HwFlowCtl = UART_HWCONTROL_NONE;
  huart1.Init.OverSampling = UART_OVERSAMPLING_16;
  if (HAL_UART_Init(&huart1) != HAL_OK)
  {
    Error_Handler();
  }

}

static void MX_USART2_UART_Init(void)
{

  huart2.Instance = USART2;
  huart2.Init.BaudRate = 115200;
  huart2.Init.WordLength = UART_WORDLENGTH_8B;
  huart2.Init.StopBits = UART_STOPBITS_1;
  huart2.Init.Parity = UART_PARITY_NONE;
  huart2.Init.Mode = UART_MODE_TX_RX;
  huart2.Init.HwFlowCtl = UART_HWCONTROL_NONE;
  huart2.Init.OverSampling = UART_OVERSAMPLING_16;
  if (HAL_UART_Init(&huart2) != HAL_OK)
  {
    Error_Handler();
  }

}

static void MX_USART3_UART_Init(void)
{

  huart3.Instance = USART3;
  huart3.Init.BaudRate = 115200;
  huart3.Init.WordLength = UART_WORDLENGTH_8B;
  huart3.Init.StopBits = UART_STOPBITS_1;
  huart3.Init.Parity = UART_PARITY_NONE;
  huart3.Init.Mode = UART_MODE_TX_RX;
  huart3.Init.HwFlowCtl = UART_HWCONTROL_NONE;
  huart3.Init.OverSampling = UART_OVERSAMPLING_16;
  if (HAL_UART_Init(&huart3) != HAL_OK)
  {
    Error_Handler();
  }

}

static void MX_DMA_Init(void)
{

  /* DMA controller clock enable */
  __HAL_RCC_DMA2_CLK_ENABLE();
  __HAL_RCC_DMA1_CLK_ENABLE();

  /* DMA interrupt init */
  /* DMA1_Stream3_IRQn interrupt configuration */
  HAL_NVIC_SetPriority(DMA1_Stream3_IRQn, 5, 0);
  HAL_NVIC_EnableIRQ(DMA1_Stream3_IRQn);
  /* DMA1_Stream4_IRQn interrupt configuration */
  HAL_NVIC_SetPriority(DMA1_Stream4_IRQn, 5, 0);
  HAL_NVIC_EnableIRQ(DMA1_Stream4_IRQn);
  /* DMA1_Stream6_IRQn interrupt configuration */
  HAL_NVIC_SetPriority(DMA1_Stream6_IRQn, 5, 0);
  HAL_NVIC_EnableIRQ(DMA1_Stream6_IRQn);
  /* DMA2_Stream0_IRQn interrupt configuration */
  HAL_NVIC_SetPriority(DMA2_Stream0_IRQn, 5, 0);
  HAL_NVIC_EnableIRQ(DMA2_Stream0_IRQn);
  /* DMA2_Stream2_IRQn interrupt configuration */
  HAL_NVIC_SetPriority(DMA2_Stream2_IRQn, 5, 0);
  HAL_NVIC_EnableIRQ(DMA2_Stream2_IRQn);
  /* DMA2_Stream7_IRQn interrupt configuration */
  HAL_NVIC_SetPriority(DMA2_Stream7_IRQn, 5, 0);
  HAL_NVIC_EnableIRQ(DMA2_Stream7_IRQn);

}

static void MX_GPIO_Init(void)
{
  GPIO_InitTypeDef GPIO_InitStruct = {0};

  /* GPIO Ports Clock Enable */
  __HAL_RCC_GPIOE_CLK_ENABLE();
  __HAL_RCC_GPIOC_CLK_ENABLE();
  __HAL_RCC_GPIOH_CLK_ENABLE();
  __HAL_RCC_GPIOA_CLK_ENABLE();
  __HAL_RCC_GPIOB_CLK_ENABLE();
  __HAL_RCC_GPIOD_CLK_ENABLE();

  /*Configure GPIO pin Output Level */
  HAL_GPIO_WritePin(GPIOE, LED_PWR_Pin|LED_NET_Pin|LED_SRVR_Pin|LED_ANSW_Pin
                          |DOUT_1_Pin|DOUT_2_Pin|DOUT_3_Pin|DOUT_4_Pin
                          |CODEC_RESET_Pin, GPIO_PIN_RESET);

  /*Configure GPIO pin Output Level */
  HAL_GPIO_WritePin(GPIOB, DOUT_0_Pin|DOUT_5_Pin|DOUT_6_Pin, GPIO_PIN_RESET);

  /*Configure GPIO pin Output Level */
  HAL_GPIO_WritePin(GPIOA, BT_Reset_Pin|RS485_DE_Pin|SPI3_CS1_Pin, GPIO_PIN_RESET);

  /*Configure GPIO pin Output Level */
  HAL_GPIO_WritePin(GPIOD, SPI3_CS2_Pin|WiFi_Reset_Pin, GPIO_PIN_RESET);

  /*Configure GPIO pins : LED_PWR_Pin LED_NET_Pin LED_SRVR_Pin LED_ANSW_Pin
                           DOUT_1_Pin DOUT_2_Pin DOUT_3_Pin DOUT_4_Pin
                           CODEC_RESET_Pin */
  GPIO_InitStruct.Pin = LED_PWR_Pin|LED_NET_Pin|LED_SRVR_Pin|LED_ANSW_Pin
                          |DOUT_1_Pin|DOUT_2_Pin|DOUT_3_Pin|DOUT_4_Pin
                          |CODEC_RESET_Pin;
  GPIO_InitStruct.Mode = GPIO_MODE_OUTPUT_PP;
  GPIO_InitStruct.Pull = GPIO_NOPULL;
  GPIO_InitStruct.Speed = GPIO_SPEED_FREQ_LOW;
  HAL_GPIO_Init(GPIOE, &GPIO_InitStruct);

  /*Configure GPIO pins : DOUT_0_Pin DOUT_5_Pin DOUT_6_Pin */
  GPIO_InitStruct.Pin = DOUT_0_Pin|DOUT_5_Pin|DOUT_6_Pin;
  GPIO_InitStruct.Mode = GPIO_MODE_OUTPUT_PP;
  GPIO_InitStruct.Pull = GPIO_NOPULL;
  GPIO_InitStruct.Speed = GPIO_SPEED_FREQ_LOW;
  HAL_GPIO_Init(GPIOB, &GPIO_InitStruct);

  /*Configure GPIO pins : DIN_0_Pin DIN_1_Pin DIN_2_Pin DIN_3_Pin
                           DIN_4_Pin DIN_5_Pin */
  GPIO_InitStruct.Pin = DIN_0_Pin|DIN_1_Pin|DIN_2_Pin|DIN_3_Pin
                          |DIN_4_Pin|DIN_5_Pin;
  GPIO_InitStruct.Mode = GPIO_MODE_INPUT;
  GPIO_InitStruct.Pull = GPIO_NOPULL;
  HAL_GPIO_Init(GPIOD, &GPIO_InitStruct);

  /*Configure GPIO pins : DIN_6_Pin DIN_7_Pin */
  GPIO_InitStruct.Pin = DIN_6_Pin|DIN_7_Pin;
  GPIO_InitStruct.Mode = GPIO_MODE_INPUT;
  GPIO_InitStruct.Pull = GPIO_NOPULL;
  HAL_GPIO_Init(GPIOC, &GPIO_InitStruct);

  /*Configure GPIO pins : BT_Reset_Pin RS485_DE_Pin SPI3_CS1_Pin */
  GPIO_InitStruct.Pin = BT_Reset_Pin|RS485_DE_Pin|SPI3_CS1_Pin;
  GPIO_InitStruct.Mode = GPIO_MODE_OUTPUT_PP;
  GPIO_InitStruct.Pull = GPIO_NOPULL;
  GPIO_InitStruct.Speed = GPIO_SPEED_FREQ_LOW;
  HAL_GPIO_Init(GPIOA, &GPIO_InitStruct);

  /*Configure GPIO pins : SPI3_CS2_Pin WiFi_Reset_Pin */
  GPIO_InitStruct.Pin = SPI3_CS2_Pin|WiFi_Reset_Pin;
  GPIO_InitStruct.Mode = GPIO_MODE_OUTPUT_PP;
  GPIO_InitStruct.Pull = GPIO_NOPULL;
  GPIO_InitStruct.Speed = GPIO_SPEED_FREQ_LOW;
  HAL_GPIO_Init(GPIOD, &GPIO_InitStruct);

  /*Configure GPIO pin : BTN_SEND_Pin */
  GPIO_InitStruct.Pin = BTN_SEND_Pin;
  GPIO_InitStruct.Mode = GPIO_MODE_INPUT;
  GPIO_InitStruct.Pull = GPIO_PULLUP;
  HAL_GPIO_Init(BTN_SEND_GPIO_Port, &GPIO_InitStruct);

}

void StartDefaultTask(void const * argument)
{
  /* USER CODE BEGIN 5 */

  CODEC_Init();

  TIM_CCxChannelCmd(htim5.Instance, TIM_CHANNEL_1, TIM_CCx_ENABLE);
  HAL_TIM_GenerateEvent(&htim5, TIM_EVENTSOURCE_CC1);
  HAL_TIM_Base_Start_IT(&htim5);                                                // 8 kHz for ADC

  /* Infinite loop */
  for(;;)
  {
    BT_Processing();
    meas_and_send();
    scan_onboard_send_btn();
    //char G[100];
    //sprintf(G,"V A=%.3f B=%.3f C=%.3f\r\n", M.Volt_Phase_A, M.Volt_Phase_B, M.Volt_Phase_C); M.VrefINT
    //sprintf(G,"Bat=%.2f Pwr=%.2f AIN0=%.3fV AIN1=%.3f\r\n", M.Vbat, M.Power_Sense, M.AIN_0, M.AIN_1);
    //DEBUG(G);

    osDelay(1);
  }
  /* USER CODE END 5 */
}

void Start_ADC1_Data_Routine(void const * argument)
{
  /* USER CODE BEGIN Start_ADC1_Data_Routine */
    HAL_ADC_Start_DMA(&hadc1, (uint32_t*)ADC1_buf, ADC1_BUF_LEN);               // Запуск АЦП
    hdma_adc1.XferCpltCallback =     ADC1_DMA_XferCpltCallback;
    hdma_adc1.XferHalfCpltCallback = ADC1_DMA_XferHalfCpltCallback;
  /* Infinite loop */
  for(;;)
  {
    osSemaphoreWait(BinarySem_ADC1_ReadyHandle , osWaitForever);
    meas_AINx_DMA_Int_routine(R.ADC1_Start_Point);
  }
  /* USER CODE END Start_ADC1_Data_Routine */
}

void Start_ADC2_50Hz_Routine(void const * argument)
{
  /* USER CODE BEGIN Start_ADC2_50Hz_Routine */
    HAL_ADC_Start_DMA(&hadc2, (uint32_t*)ADC2_buf, ADC2_BUF_LEN);
    hdma_adc2.XferCpltCallback =     ADC2_DMA_XferCpltCallback;
    hdma_adc2.XferHalfCpltCallback = ADC2_DMA_XferHalfCpltCallback;
  /* Infinite loop */
  for(;;)
  {
      osSemaphoreWait(BinarySem_ADC2_50Hz_ReadyHandle , osWaitForever);
      meas_50Hz_DMA_Int_routine(R.ADC2_Start_Point);
  }
  /* USER CODE END Start_ADC2_50Hz_Routine */
}

void Start_CODEC_ADC_Routine(void const * argument)
{
  /* USER CODE BEGIN Start_CODEC_ADC_Routine */
  // Запуск кодека
  HAL_I2SEx_TransmitReceive_DMA(&hi2s2, (uint16_t*)Codec_Tx, (uint16_t*)Codec_Rx, 1000);
  __HAL_DMA_DISABLE_IT(&hdma_spi2_tx, DMA_IT_TC);
  __HAL_DMA_DISABLE_IT(&hdma_spi2_tx, DMA_IT_HT);

  /* Infinite loop */
  for(;;)
  {
    osSemaphoreWait(BinarySem_Codec_ADC_ReadyHandle , osWaitForever);
    codec_IT_routine();

  }
  /* USER CODE END Start_CODEC_ADC_Routine */
}

void Start_WIFI_SEND_Routine(void const * argument)
{
  /* USER CODE BEGIN Start_WIFI_SEND_Routine */
  while (!ESP_Init()){                                                          // Запуск ESP8266
        DEBUG("ESP init failure\n");
        HAL_Delay(2000);
  }
  /* Infinite loop */
  for(;;)
  {
    ESP_Send_Packet();
    taskYIELD();
  }
  /* USER CODE END Start_WIFI_SEND_Routine */
}

void Start_OLED_Out(void const * argument)
{
  /* USER CODE BEGIN Start_OLED_Out */
              ssd1306_Init();
              ssd1306_Fill(Black);
              draw_td(White);
              ssd1306_UpdateScreen();
              HAL_Delay(2000);
              R.OLED_Refresh_Enable = true;
  /* Infinite loop */
  for(;;)
  {
    if (R.EEPROM_in_progress == false){
              if(R.OLED_Refresh_Enable){
                R.OLED_Refresh_Enable = false;
                create_screen(R.OLED_Screen);
                ssd1306_UpdateScreen();
              }
    }
    osThreadYield();
  }
  /* USER CODE END Start_OLED_Out */
}

void HAL_TIM_PeriodElapsedCallback(TIM_HandleTypeDef *htim)
{
  if (htim->Instance == TIM2) {
    HAL_IncTick();
  }
}

void Error_Handler(void)
{
}

/************************ (C) COPYRIGHT STMicroelectronics *****END OF FILE****/
